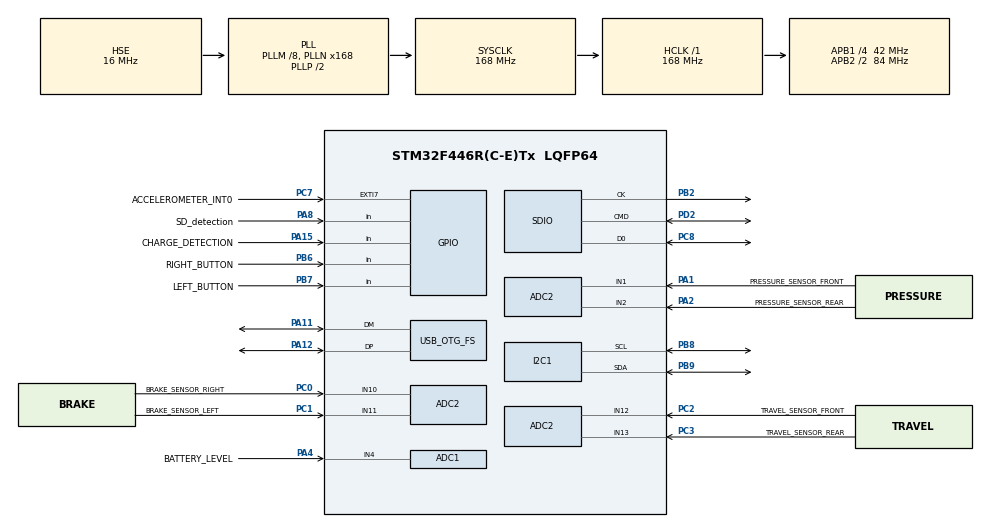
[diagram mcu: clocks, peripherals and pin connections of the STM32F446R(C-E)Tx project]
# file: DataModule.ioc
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ADC1.Channel-0\#ChannelRegularConversion=ADC_CHANNEL_4
ADC1.ClockPrescaler=ADC_CLOCK_SYNC_PCLK_DIV4
ADC1.NbrOfConversionFlag=1
ADC1.Rank-0\#ChannelRegularConversion=1
ADC1.SamplingTime-0\#ChannelRegularConversion=ADC_SAMPLETIME_3CYCLES
ADC1.master=1
ADC2.Channel-0\#ChannelRegularConversion=ADC_CHANNEL_12
ADC2.Channel-1\#ChannelRegularConversion=ADC_CHANNEL_13
ADC2.Channel-2\#ChannelRegularConversion=ADC_CHANNEL_1
ADC2.Channel-4\#ChannelRegularConversion=ADC_CHANNEL_2
ADC2.Channel-5\#ChannelRegularConversion=ADC_CHANNEL_11
ADC2.Channel-6\#ChannelRegularConversion=ADC_CHANNEL_10
ADC2.ClockPrescaler=ADC_CLOCK_SYNC_PCLK_DIV4
ADC2.DMAContinuousRequests=ENABLE
ADC2.ExternalTrigConv=ADC_EXTERNALTRIGCONV_T2_TRGO
ADC2.NbrOfConversion=6
ADC2.NbrOfConversionFlag=1
ADC2.Rank-0\#ChannelRegularConversion=1
ADC2.Rank-1\#ChannelRegularConversion=2
ADC2.Rank-2\#ChannelRegularConversion=3
ADC2.Rank-4\#ChannelRegularConversion=4
ADC2.Rank-5\#ChannelRegularConversion=5
ADC2.Rank-6\#ChannelRegularConversion=6
ADC2.SamplingTime-0\#ChannelRegularConversion=ADC_SAMPLETIME_15CYCLES
ADC2.SamplingTime-1\#ChannelRegularConversion=ADC_SAMPLETIME_15CYCLES
ADC2.SamplingTime-2\#ChannelRegularConversion=ADC_SAMPLETIME_15CYCLES
ADC2.SamplingTime-4\#ChannelRegularConversion=ADC_SAMPLETIME_15CYCLES
ADC2.SamplingTime-5\#ChannelRegularConversion=ADC_SAMPLETIME_15CYCLES
ADC2.SamplingTime-6\#ChannelRegularConversion=ADC_SAMPLETIME_15CYCLES
ADC2.ScanConvMode=ENABLE
Dma.ADC2.0.Direction=DMA_PERIPH_TO_MEMORY
Dma.ADC2.0.FIFOMode=DMA_FIFOMODE_DISABLE
Dma.ADC2.0.Instance=DMA2_Stream2
Dma.ADC2.0.MemDataAlignment=DMA_MDATAALIGN_HALFWORD
Dma.ADC2.0.MemInc=DMA_MINC_ENABLE
Dma.ADC2.0.Mode=DMA_CIRCULAR
Dma.ADC2.0.PeriphDataAlignment=DMA_PDATAALIGN_HALFWORD
Dma.ADC2.0.PeriphInc=DMA_PINC_DISABLE
Dma.ADC2.0.Priority=DMA_PRIORITY_LOW
Dma.Request0=ADC2
Dma.Request1=SDIO_RX
Dma.Request2=SDIO_TX
Dma.SDIO_RX.1.Direction=DMA_PERIPH_TO_MEMORY
Dma.SDIO_RX.1.FIFOMode=DMA_FIFOMODE_ENABLE
Dma.SDIO_RX.1.FIFOThreshold=DMA_FIFO_THRESHOLD_FULL
Dma.SDIO_RX.1.Instance=DMA2_Stream3
Dma.SDIO_RX.1.MemBurst=DMA_MBURST_INC4
Dma.SDIO_RX.1.MemDataAlignment=DMA_MDATAALIGN_WORD
Dma.SDIO_RX.1.MemInc=DMA_MINC_ENABLE
Dma.SDIO_RX.1.Mode=DMA_PFCTRL
Dma.SDIO_RX.1.PeriphBurst=DMA_PBURST_INC4
Dma.SDIO_RX.1.PeriphDataAlignment=DMA_PDATAALIGN_WORD
Dma.SDIO_RX.1.PeriphInc=DMA_PINC_DISABLE
Dma.SDIO_RX.1.Priority=DMA_PRIORITY_LOW
Dma.SDIO_TX.2.Direction=DMA_MEMORY_TO_PERIPH
Dma.SDIO_TX.2.FIFOMode=DMA_FIFOMODE_ENABLE
Dma.SDIO_TX.2.FIFOThreshold=DMA_FIFO_THRESHOLD_FULL
Dma.SDIO_TX.2.Instance=DMA2_Stream6
Dma.SDIO_TX.2.MemBurst=DMA_MBURST_INC4
Dma.SDIO_TX.2.MemDataAlignment=DMA_MDATAALIGN_WORD
Dma.SDIO_TX.2.MemInc=DMA_MINC_ENABLE
Dma.SDIO_TX.2.Mode=DMA_PFCTRL
Dma.SDIO_TX.2.PeriphBurst=DMA_PBURST_INC4
Dma.SDIO_TX.2.PeriphDataAlignment=DMA_PDATAALIGN_WORD
Dma.SDIO_TX.2.PeriphInc=DMA_PINC_DISABLE
Dma.SDIO_TX.2.Priority=DMA_PRIORITY_LOW
FATFS.BSP.number=1
FATFS._MAX_SS=512
FATFS._MIN_SS=512
FATFS0.BSP.STBoard=false
FATFS0.BSP.api=Unknown
FATFS0.BSP.instance=PA8
FATFS0.BSP.ip=GPIO
FATFS0.BSP.mode=Input
FATFS0.BSP.name=Detect_SDIO
FATFS0.BSP.solution=PA8
FREERTOS.BinarySemaphores01=travelSensorSem,Static,travelSensorSemControlBlock;SendData,Static,SendDataControlBlock;writeCalibrationSem,Static,writeCalibrationSemControlBlock;SagMeasurement,Static,SagMeasurementControlBlock
FREERTOS.Tasks01=SdCard,0,1024,SdCardInit,Default,NULL,Dynamic,NULL,NULL;sensorRead,0,1024,sensorReadInit,Default,NULL,Static,sensorReadBuffer,sensorReadControlBlock;menuProcessData,0,512,menuProcessDataInit,Default,NULL,Static,menuProcessDataBuffer,menuProcessDataControlBlock
FREERTOS.configUSE_NEWLIB_REENTRANT=1
I2C1.I2C_Mode=I2C_Fast
I2C1.OwnAddress=0
Mcu.Family=STM32F4
Mcu.Name=STM32F446R(C-E)Tx
Mcu.Package=LQFP64
NVIC.DMA2_Stream2_IRQn=true\:5\:0\:false\:false\:true\:true\:false\:true\:true
NVIC.DMA2_Stream3_IRQn=true\:5\:0\:false\:false\:true\:true\:false\:true\:true
NVIC.DMA2_Stream6_IRQn=true\:5\:0\:false\:false\:true\:true\:false\:true\:true
NVIC.OTG_FS_IRQn=true\:5\:0\:false\:false\:true\:true\:true\:true\:true
NVIC.PriorityGroup=NVIC_PRIORITYGROUP_4
NVIC.SDIO_IRQn=true\:5\:0\:false\:false\:true\:true\:true\:true\:true
NVIC.TIM3_IRQn=true\:15\:0\:false\:false\:true\:false\:false\:true\:true
NVIC.TimeBase=TIM3_IRQn
NVIC.TimeBaseIP=TIM3
PA1.GPIO_Label=PRESSURE_SENSOR_FRONT
PA1.Signal=ADCx_IN1
PA11.Mode=Device_Only
PA11.Signal=USB_OTG_FS_DM
PA12.Mode=Device_Only
PA12.Signal=USB_OTG_FS_DP
PA13.GPIO_Label=TMS
PA13.Mode=Serial_Wire
PA13.Signal=SYS_JTMS-SWDIO
PA14.GPIO_Label=TCK
PA14.Mode=Serial_Wire
PA14.Signal=SYS_JTCK-SWCLK
PA15.GPIO_Label=CHARGE_DETECTION
PA15.Signal=GPIO_Input
PA2.GPIO_Label=PRESSURE_SENSOR_REAR
PA2.Signal=ADCx_IN2
PA4.GPIO_Label=BATTERY_LEVEL
PA4.Signal=ADCx_IN4
PA8.GPIO_Label=SD_detection
PA8.GPIO_PuPd=GPIO_PULLUP
PA8.Signal=GPIO_Input
PB2.Mode=SD_1_bit
PB2.Signal=SDIO_CK
PB3.GPIO_Label=SWO
PB3.Signal=SYS_JTDO-SWO
PB6.GPIO_Label=RIGHT_BUTTON
PB6.GPIO_PuPd=GPIO_PULLUP
PB6.Signal=GPIO_Input
PB7.GPIO_Label=LEFT_BUTTON
PB7.GPIO_PuPd=GPIO_PULLUP
PB7.Signal=GPIO_Input
PB8.Mode=I2C
PB8.Signal=I2C1_SCL
PB9.Mode=I2C
PB9.Signal=I2C1_SDA
PC0.GPIO_Label=BRAKE_SENSOR_RIGHT
PC0.Signal=ADCx_IN10
PC1.GPIO_Label=BRAKE_SENSOR_LEFT
PC1.Signal=ADCx_IN11
PC14-OSC32_IN.Mode=LSE-External-Oscillator
PC14-OSC32_IN.Signal=RCC_OSC32_IN
PC15-OSC32_OUT.Mode=LSE-External-Oscillator
PC15-OSC32_OUT.Signal=RCC_OSC32_OUT
PC2.GPIO_Label=TRAVEL_SENSOR_FRONT
PC2.Signal=ADCx_IN12
PC3.GPIO_Label=TRAVEL_SENSOR_REAR
PC3.Signal=ADCx_IN13
PC7.GPIO_Label=ACCELEROMETER_INT0
PC7.Signal=GPXTI7
PC8.GPIO_PuPd=GPIO_PULLUP
PC8.Mode=SD_1_bit
PC8.Signal=SDIO_D0
PC9.GPIO_PuPd=GPIO_PULLUP
PC9.Signal=SDIO_D1
PD2.GPIO_PuPd=GPIO_PULLUP
PD2.Mode=SD_1_bit
PD2.Signal=SDIO_CMD
PH0-OSC_IN.Mode=HSE-External-Oscillator
PH0-OSC_IN.Signal=RCC_OSC_IN
PH1-OSC_OUT.Mode=HSE-External-Oscillator
PH1-OSC_OUT.Signal=RCC_OSC_OUT
ProjectManager.HeapSize=0x400
ProjectManager.StackSize=0x800
ProjectManager.TargetToolchain=STM32CubeIDE
RCC.48MHZClocksFreq_Value=84000000
RCC.AHBFreq_Value=168000000
RCC.APB1CLKDivider=RCC_HCLK_DIV4
RCC.APB1Freq_Value=42000000
RCC.APB1TimFreq_Value=84000000
RCC.APB2CLKDivider=RCC_HCLK_DIV2
RCC.APB2Freq_Value=84000000
RCC.APB2TimFreq_Value=168000000
RCC.CortexFreq_Value=168000000
RCC.FLatency-AdvancedSettings=FLASH_LATENCY_5
RCC.HCLKFreq_Value=168000000
RCC.HSE_VALUE=16000000
RCC.HSI_VALUE=16000000
RCC.PLLM=8
RCC.PLLN=168
RCC.PLLQ=7
RCC.PLLSourceVirtual=RCC_PLLSOURCE_HSE
RCC.SYSCLKFreq_VALUE=168000000
RCC.SYSCLKSource=RCC_SYSCLKSOURCE_PLLCLK
RCC.USBFreq_Value=48000000
RCC.VCOOutputFreq_Value=336000000
SDIO.ClockDiv=0
SH.ADCx_IN1.0=ADC2_IN1,IN1
SH.ADCx_IN10.0=ADC2_IN10,IN10
SH.ADCx_IN11.0=ADC2_IN11,IN11
SH.ADCx_IN12.0=ADC2_IN12,IN12
SH.ADCx_IN13.0=ADC2_IN13,IN13
SH.ADCx_IN2.0=ADC2_IN2,IN2
SH.ADCx_IN4.0=ADC1_IN4,IN4
TIM2.Channel-PWM\ Generation1\ No\ Output=TIM_CHANNEL_1
TIM2.Period=100-1
TIM2.Prescaler=4200-1
TIM2.TIM_MasterOutputTrigger=TIM_TRGO_UPDATE
TIM6.Prescaler=42000-1
TIM8.Channel-PWM\ Generation1\ No\ Output=TIM_CHANNEL_1
TIM8.Period=270-1
TIM8.Prescaler=1800-1
TIM8.TIM_MasterOutputTrigger=TIM_TRGO_UPDATE
USB_DEVICE.CLASS_NAME_FS=MSC
USB_DEVICE.MSC_MEDIA_PACKET-MSC_FS=512
USB_DEVICE.VirtualMode-MSC_FS=Msc
USB_DEVICE.VirtualModeFS=Msc_FS
USB_OTG_FS.VirtualMode=Device_Only
VP_FATFS_VS_SDIO.Mode=SDIO
VP_FREERTOS_VS_CMSIS_V1.Mode=CMSIS_V1
VP_SYS_VS_tim3.Mode=TIM3
VP_TIM2_VS_ClockSourceINT.Mode=Internal
VP_TIM2_VS_no_output1.Mode=PWM Generation1 No Output
VP_TIM6_VS_ClockSourceINT.Mode=Enable_Timer
VP_TIM8_VS_ClockSourceINT.Mode=Internal
VP_TIM8_VS_no_output1.Mode=PWM Generation1 No Output
VP_USB_DEVICE_VS_USB_DEVICE_MSC_FS.Mode=MSC_FS
board=NUCLEO-F446RE

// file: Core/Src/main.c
/* USER CODE BEGIN Header */
/**
 ******************************************************************************
 * @file           : main.c
 * @brief          : Main program body
 ******************************************************************************
 * @attention
 *
 * Copyright (c) 2023 STMicroelectronics.
 * All rights reserved.
 *
 * This software is licensed under terms that can be found in the LICENSE file
 * in the root directory of this software component.
 * If no LICENSE file comes with this software, it is provided AS-IS.
 *
 ******************************************************************************
 */
/* USER CODE END Header */
#include "main.h"
#include "cmsis_os.h"
#include "adc.h"
#include "dma.h"
#include "fatfs.h"
#include "i2c.h"
#include "sdio.h"
#include "tim.h"
#include "usb_device.h"
#include "gpio.h"

void SystemClock_Config(void);
void MX_FREERTOS_Init(void);
/* USER CODE BEGIN PFP */
// int __io_putchar(int ch)
// {
// 	ITM_SendChar(ch);
// 	return (ch);
// }
int _write(int file, char *ptr, int len)
{
    int i=0;
    for(i=0 ; i<len ; i++)
        ITM_SendChar((*ptr++));
    return len;
}
/* USER CODE END PFP */

int main(void)
{

  /* MCU Configuration--------------------------------------------------------*/

  /* Reset of all peripherals, Initializes the Flash interface and the Systick. */
  HAL_Init();

  /* Configure the system clock */
  SystemClock_Config();

  /* Initialize all configured peripherals */
  MX_GPIO_Init();
  MX_DMA_Init();
  MX_TIM6_Init();
  MX_TIM8_Init();
  MX_TIM2_Init();
  MX_ADC2_Init();
  MX_I2C1_Init();
  MX_SDIO_SD_Init();
  MX_ADC1_Init();
  MX_FATFS_Init();
  /* USER CODE BEGIN 2 */
	//MX_SDIO_SD_Init_4B();
  /* USER CODE END 2 */

  /* Call init function for freertos objects (in freertos.c) */
  MX_FREERTOS_Init();

  /* Start scheduler */
  osKernelStart();

  /* We should never get here as control is now taken by the scheduler */
  /* Infinite loop */
	while (1)
	{

	}
}

void SystemClock_Config(void)
{
  RCC_OscInitTypeDef RCC_OscInitStruct = {0};
  RCC_ClkInitTypeDef RCC_ClkInitStruct = {0};

  /** Configure the main internal regulator output voltage
  */
  __HAL_RCC_PWR_CLK_ENABLE();
  __HAL_PWR_VOLTAGESCALING_CONFIG(PWR_REGULATOR_VOLTAGE_SCALE1);

  /** Initializes the RCC Oscillators according to the specified parameters
  * in the RCC_OscInitTypeDef structure.
  */
  RCC_OscInitStruct.OscillatorType = RCC_OSCILLATORTYPE_HSE;
  RCC_OscInitStruct.HSEState = RCC_HSE_ON;
  RCC_OscInitStruct.PLL.PLLState = RCC_PLL_ON;
  RCC_OscInitStruct.PLL.PLLSource = RCC_PLLSOURCE_HSE;
  RCC_OscInitStruct.PLL.PLLM = 8;
  RCC_OscInitStruct.PLL.PLLN = 168;
  RCC_OscInitStruct.PLL.PLLP = RCC_PLLP_DIV2;
  RCC_OscInitStruct.PLL.PLLQ = 7;
  RCC_OscInitStruct.PLL.PLLR = 2;
  if (HAL_RCC_OscConfig(&RCC_OscInitStruct) != HAL_OK)
  {
    Error_Handler();
  }

  /** Initializes the CPU, AHB and APB buses clocks
  */
  RCC_ClkInitStruct.ClockType = RCC_CLOCKTYPE_HCLK|RCC_CLOCKTYPE_SYSCLK
                              |RCC_CLOCKTYPE_PCLK1|RCC_CLOCKTYPE_PCLK2;
  RCC_ClkInitStruct.SYSCLKSource = RCC_SYSCLKSOURCE_PLLCLK;
  RCC_ClkInitStruct.AHBCLKDivider = RCC_SYSCLK_DIV1;
  RCC_ClkInitStruct.APB1CLKDivider = RCC_HCLK_DIV4;
  RCC_ClkInitStruct.APB2CLKDivider = RCC_HCLK_DIV2;

  if (HAL_RCC_ClockConfig(&RCC_ClkInitStruct, FLASH_LATENCY_5) != HAL_OK)
  {
    Error_Handler();
  }
}

void HAL_TIM_PeriodElapsedCallback(TIM_HandleTypeDef *htim)
{
  if (htim->Instance == TIM3) {
    HAL_IncTick();
  }
}

void Error_Handler(void)
{
	__disable_irq();
	while (1)
	{
	}
}

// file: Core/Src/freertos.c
/* USER CODE BEGIN Header */
/**
 ******************************************************************************
 * File Name          : freertos.c
 * Description        : Code for freertos applications
 ******************************************************************************
 * @attention
 *
 * Copyright (c) 2023 STMicroelectronics.
 * All rights reserved.
 *
 * This software is licensed under terms that can be found in the LICENSE file
 * in the root directory of this software component.
 * If no LICENSE file comes with this software, it is provided AS-IS.
 *
 ******************************************************************************
 */
/* USER CODE END Header */

#include "FreeRTOS.h"
#include "task.h"
#include "main.h"
#include "cmsis_os.h"

/* USER CODE BEGIN Includes */
#include "adc.h"
#include "stdio.h"
#include "stdint.h"
#include "dma.h"
#include "tim.h"
#include "gpio.h"
#include "fatfs.h"
#include "i2c.h"
#include "ff.h"

#include "travelSensor.h"
#include "File_Handling_RTOS.h"
#include "button.h"
#include "menu.h"
#include "liquidcrystal_i2c.h"
#include "ADXL345.h"
#include "lcdMenu.h"
#include "usb_device.h"
#include "ssd1306.h"
/* USER CODE END Includes */

/* USER CODE BEGIN PD */

#define MAX_ACTIVE_BUTTON 4U
#define adxl_address 0x53 << 1
/* USER CODE END PD */

/* USER CODE BEGIN Variables */

button_t buttonMenu = 5;
/* USER CODE END Variables */
osThreadId SdCardHandle;
osThreadId sensorReadHandle;
uint32_t sensorReadBuffer[ 1024 ];
osStaticThreadDef_t sensorReadControlBlock;
osThreadId menuProcessDataHandle;
uint32_t menuProcessDataBuffer[ 512 ];
osStaticThreadDef_t menuProcessDataControlBlock;
osSemaphoreId travelSensorSemHandle;
osStaticSemaphoreDef_t travelSensorSemControlBlock;
osSemaphoreId SendDataHandle;
osStaticSemaphoreDef_t SendDataControlBlock;
osSemaphoreId writeCalibrationSemHandle;
osStaticSemaphoreDef_t writeCalibrationSemControlBlock;
osSemaphoreId SagMeasurementHandle;
osStaticSemaphoreDef_t SagMeasurementControlBlock;

void SdCardInit(void const * argument);
void sensorReadInit(void const * argument);
void menuProcessDataInit(void const * argument);

extern void MX_USB_DEVICE_Init(void);
void MX_FREERTOS_Init(void); /* (MISRA C 2004 rule 8.1) */

/* GetIdleTaskMemory prototype (linked to static allocation support) */
void vApplicationGetIdleTaskMemory( StaticTask_t **ppxIdleTaskTCBBuffer, StackType_t **ppxIdleTaskStackBuffer, uint32_t *pulIdleTaskStackSize );

/* USER CODE BEGIN GET_IDLE_TASK_MEMORY */
static StaticTask_t xIdleTaskTCBBuffer;
static StackType_t xIdleStack[configMINIMAL_STACK_SIZE];

void vApplicationGetIdleTaskMemory(StaticTask_t **ppxIdleTaskTCBBuffer,
		StackType_t **ppxIdleTaskStackBuffer, uint32_t *pulIdleTaskStackSize)
{
	*ppxIdleTaskTCBBuffer = &xIdleTaskTCBBuffer;
	*ppxIdleTaskStackBuffer = &xIdleStack[0];
	*pulIdleTaskStackSize = configMINIMAL_STACK_SIZE;
	/* place for user code */
}
/* USER CODE END GET_IDLE_TASK_MEMORY */

void MX_FREERTOS_Init(void) {

  /* Create the semaphores(s) */
  /* definition and creation of travelSensorSem */
  osSemaphoreStaticDef(travelSensorSem, &travelSensorSemControlBlock);
  travelSensorSemHandle = osSemaphoreCreate(osSemaphore(travelSensorSem), 1);

  /* definition and creation of SendData */
  osSemaphoreStaticDef(SendData, &SendDataControlBlock);
  SendDataHandle = osSemaphoreCreate(osSemaphore(SendData), 1);

  /* definition and creation of writeCalibrationSem */
  osSemaphoreStaticDef(writeCalibrationSem, &writeCalibrationSemControlBlock);
  writeCalibrationSemHandle = osSemaphoreCreate(osSemaphore(writeCalibrationSem), 1);

  /* definition and creation of SagMeasurement */
  osSemaphoreStaticDef(SagMeasurement, &SagMeasurementControlBlock);
  SagMeasurementHandle = osSemaphoreCreate(osSemaphore(SagMeasurement), 1);

  /* Create the thread(s) */
  /* definition and creation of SdCard */
  osThreadDef(SdCard, SdCardInit, osPriorityNormal, 0, 1024);
  SdCardHandle = osThreadCreate(osThread(SdCard), NULL);

  /* definition and creation of sensorRead */
  osThreadStaticDef(sensorRead, sensorReadInit, osPriorityNormal, 0, 1024, sensorReadBuffer, &sensorReadControlBlock);
  sensorReadHandle = osThreadCreate(osThread(sensorRead), NULL);

  /* definition and creation of menuProcessData */
  osThreadStaticDef(menuProcessData, menuProcessDataInit, osPriorityNormal, 0, 512, menuProcessDataBuffer, &menuProcessDataControlBlock);
  menuProcessDataHandle = osThreadCreate(osThread(menuProcessData), NULL);

}

void SdCardInit(void const * argument)
{
  /* init code for USB_DEVICE */
  MX_USB_DEVICE_Init();
  /* USER CODE BEGIN SdCardInit */
	Mount_SD("/");
	Unmount_SD("/");
	char voltageStr[3] = {0};
	uint32_t value;
	float voltage;

	/* Infinite loop */
#ifdef CHECK_SAMPLE_TIME
	int32_t startTime = 0;
#endif
	for (;;)
	{
#ifdef CHECK_SAMPLE_TIME
		if (MENU_MEASURMENT_START == getMenuSelector()){
			startTime++;
			if(startTime >= 100){
				startTime =0;
				menuSelector(BUTTON_SNA, BUTTON_RIGHT_PRESSED);
				UNUSED(0);
			}
		}
#endif
		if(MENU_START == getMenuSelector()){
			HAL_ADC_Start(&hadc1);
			if(HAL_OK == HAL_ADC_PollForConversion(&hadc1, HAL_MAX_DELAY)){
				value = HAL_ADC_GetValue(&hadc1);
				voltage = 3.3f * value / 4096.0f;
				memset(voltageStr,0, sizeof(voltageStr));
				floatToStringTravel(voltageStr, (2*voltage), 1);
				lcdMenuStartBatVoltage(voltageStr);
	//puts(voltageStr);

	//			printf("Battery Voltage: %s\n", voltageStr);
			}
			HAL_ADC_Stop(&hadc1);
		}
		osDelay(1000);
	}
  /* USER CODE END SdCardInit */
}

void sensorReadInit(void const * argument)
{
  /* USER CODE BEGIN sensorReadInit */
	/* Infinite loop */
	for (;;)
	{
		if (osOK == osSemaphoreWait(travelSensorSemHandle, osWaitForever))
		{
			if (MENU_MEASURMENT_START == getMenuSelector())
			{
				char *sensorDataPtr = getSensorDataFileName();
				processData(sensorDataPtr);
			}
			else if (MENU_SAG_START == getMenuSelector())
			{
				char frontTravel[8] = {'\0'};
				char rearTravel[8] = {'\0'};
				char frontPressure[8] = {'\0'};
				char rearPressure[8] = {'\0'};
				processDataSag(frontTravel, rearTravel, frontPressure, rearPressure);
				lcdMenuSagStart(frontTravel, rearTravel, frontPressure, rearPressure);
			}
			else if (MENU_CALIBRATION == getMenuSelector()){
				stopAdcDma();
				travelPressureSensorCalibration();
				lcdMenuFinishedNotification("Cal Finished");
				lcdMenuStart();
				setMenuSelector(MENU_START);
			}
		}
		osDelay(10);
	}
  /* USER CODE END sensorReadInit */
}

void menuProcessDataInit(void const * argument)
{
  /* USER CODE BEGIN menuProcessDataInit */
	button_t buttonLeft;
	button_t buttonRight;
	HAL_I2C_Init(&hi2c1);
	SSD1306_Init();
	lcdMenuStart();
	/* Infinite loop */
	for (;;)
	{
		buttonLeft = readButton(LEFT_BUTTON_GPIO_Port, LEFT_BUTTON_Pin);
		buttonRight = readButton(RIGHT_BUTTON_GPIO_Port, RIGHT_BUTTON_Pin);
		if ((BUTTON_SNA != buttonLeft) || (BUTTON_SNA != buttonRight))
		{
			menuSelector(buttonLeft, buttonRight);
		}

		osDelay(30);
	}
  /* USER CODE END menuProcessDataInit */
}
